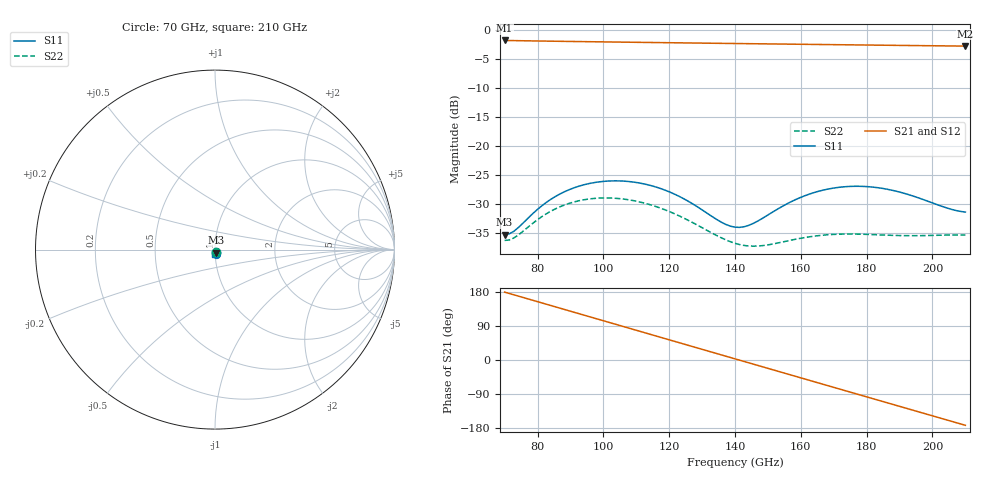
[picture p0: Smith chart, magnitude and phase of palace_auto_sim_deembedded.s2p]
! Created with skrf 1.11.0 (http://scikit-rf.org).
# GHz S DB R 50.0
!freq dBS11 angS11 dBS21 angS21 dBS12 angS12 dBS22 angS22
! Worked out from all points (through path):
!   101 points, 70 GHz to 210 GHz, reference 50 ohm
!   highest |S21| = -1.72 dB at 70 GHz (marker M1); lowest = -2.7 dB at 210 GHz (marker M2)
!   group delay of S21, straight-line fit = 6.97 ps
!   lowest |S11| = -35.2 dB at 70 GHz (marker M3), VSWR 1.04, Z = 50.5 - j1.68 ohm
!   |S11| at or under -10 dB: start of sweep to end of sweep
!   |S22| runs from -37.2 to -28.9 dB; largest |S21 - S12| = 9.4e-14
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70  -35.19 -73.0  -1.72 179.1  -1.72 179.1  -36.20 -69.3
72.8  -34.64 -56.8  -1.75 172.1  -1.75 172.1  -35.79 -54.6
81.2  -30.29 -40.9  -1.82 150.9  -1.82 150.9  -32.15 -39.2
86.8  -28.20 -45.1  -1.87 136.8  -1.87 136.8  -30.41 -42.6
93.8  -26.65 -55.1  -1.92 119.2  -1.92 119.2  -29.23 -51.6
99.4  -26.06 -64.4  -1.97 105.1  -1.97 105.1  -28.89 -60.2
105  -25.95 -74.1  -2.01 91.0  -2.01 91.0  -29.00 -68.9
110.6  -26.27 -83.5  -2.05 77.0  -2.05 77.0  -29.52 -77.4
117.6  -27.30 -94.0  -2.10 59.4  -2.10 59.4  -30.68 -86.5
128.8  -30.49 -102.4  -2.17 31.2  -2.17 31.2  -33.64 -94.2
134.4  -32.58 -97.6  -2.21 17.1  -2.21 17.1  -35.35 -92.2
140  -33.92 -83.0  -2.25 3.1  -2.25 3.1  -36.70 -85.1
144.2  -33.60 -69.9  -2.28 -7.5  -2.28 -7.5  -37.17 -77.9
151.2  -31.40 -58.3  -2.32 -25.0  -2.32 -25.0  -36.85 -68.0
156.8  -29.60 -58.2  -2.36 -39.1  -2.36 -39.1  -36.19 -64.7
163.8  -27.99 -63.9  -2.41 -56.6  -2.41 -56.6  -35.49 -64.9
170.8  -27.11 -72.4  -2.45 -74.2  -2.45 -74.2  -35.15 -67.5
176.4  -26.87 -79.7  -2.49 -88.2  -2.49 -88.2  -35.11 -69.8
182  -27.02 -86.8  -2.52 -102.3  -2.52 -102.3  -35.21 -71.7
187.6  -27.54 -92.8  -2.56 -116.3  -2.56 -116.3  -35.33 -72.9
198.8  -29.49 -98.3  -2.63 -144.3  -2.63 -144.3  -35.36 -75.1
210  -31.32 -88.0  -2.70 -172.3  -2.70 -172.3  -35.28 -80.5
